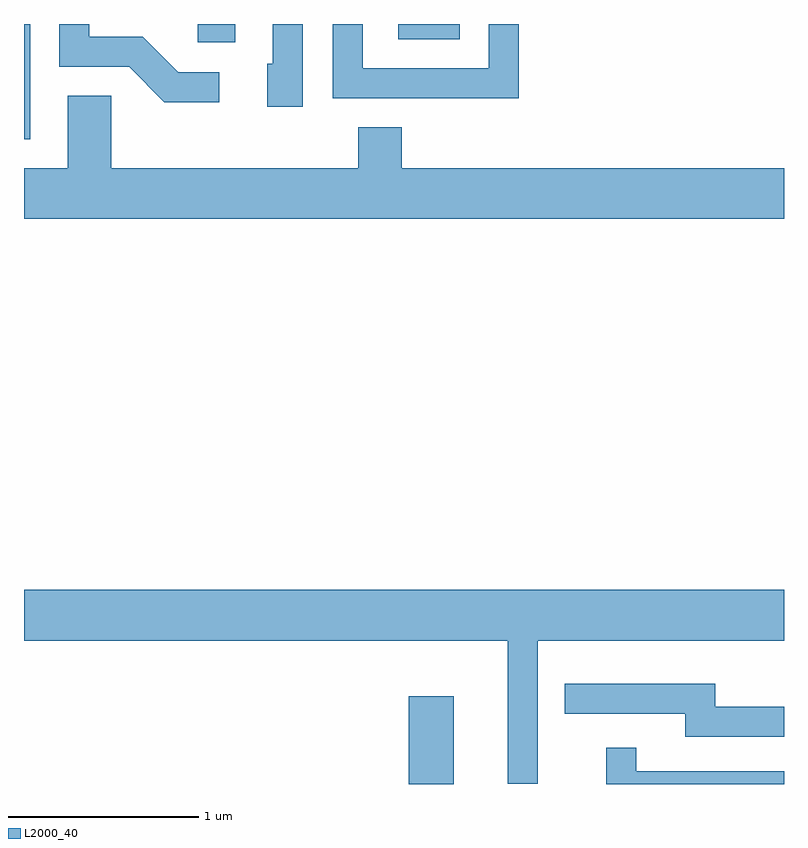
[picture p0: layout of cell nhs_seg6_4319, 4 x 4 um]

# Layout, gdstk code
import gdstk
lib = gdstk.Library(unit=1e-6, precision=1e-09)
def R(c, l, rs):  # rectangles x0, y0, x1, y1
    for r in rs: c.add(gdstk.rectangle(r[:2], r[2:], *l))
def P(c, l, *ps):  # polygons
    for p in ps: c.add(gdstk.Polygon(p, *l))
L2000_40 = (2000, 40)

nhs_seg6_4319 = lib.new_cell('nhs_seg6_4319')
R(nhs_seg6_4319, L2000_40, [(319.636,1558.162,319.874,1558.624), (317.611,1561.556,317.644,1562.162), (318.526,1562.066,318.724,1562.162), (319.581,1562.081,319.904,1562.162)])
P(nhs_seg6_4319, L2000_40, [(319.079,1562.162),(318.921,1562.162),(318.921,1561.954),(318.891,1561.954),(318.891,1561.726),(319.079,1561.726)],
  [(320.214,1562.162),(320.056,1562.162),(320.056,1561.929),(319.394,1561.929),(319.394,1562.162),(319.236,1562.162),(319.236,1561.771),(320.214,1561.771)],
  [(318.638,1561.909),(318.422,1561.909),(318.237,1562.094),(317.954,1562.094),(317.954,1562.162),(317.796,1562.162),(317.796,1561.936),(318.164,1561.936),(318.349,1561.751),(318.638,1561.751)],
  [(321.611,1561.404),(319.599,1561.404),(319.599,1561.619),(319.371,1561.619),(319.371,1561.404),(318.069,1561.404),(318.069,1561.784),(317.841,1561.784),(317.841,1561.404),(317.611,1561.404),(317.611,1561.136),(321.611,1561.136)],
  [(320.314,1558.916),(321.611,1558.916),(321.611,1559.184),(317.611,1559.184),(317.611,1558.916),(320.156,1558.916),(320.156,1558.163),(320.314,1558.163)],
  [(321.611,1558.569),(321.249,1558.569),(321.249,1558.689),(320.458,1558.689),(320.458,1558.531),(321.091,1558.531),(321.091,1558.411),(321.611,1558.411)],
  [(321.611,1558.229),(320.834,1558.229),(320.834,1558.353),(320.676,1558.353),(320.676,1558.162),(321.611,1558.162)])

lib.write_gds('nhs_seg6_4319.gds')
